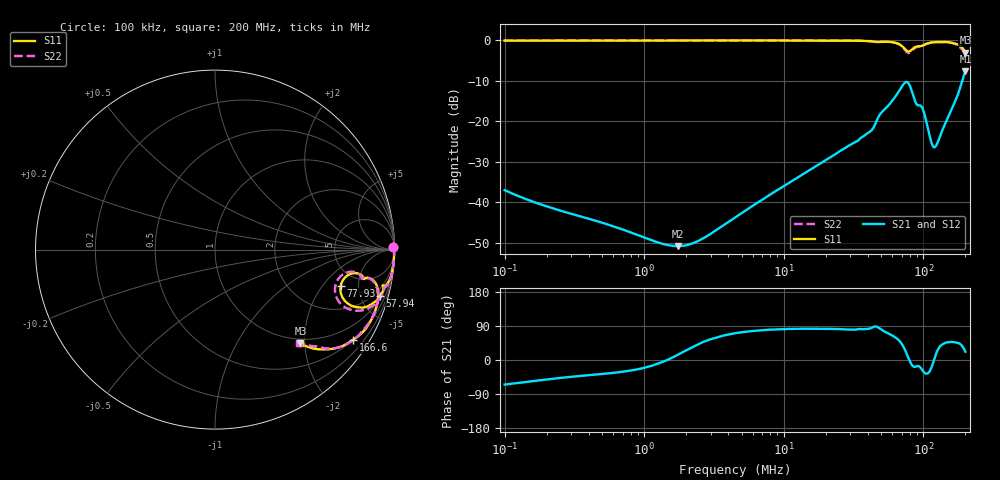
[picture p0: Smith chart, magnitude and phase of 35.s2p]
#  HZ  S  RI  R  50.00
! Rohde & Schwarz Vector Network Analyzer
! Rohde-Schwarz,ZNLE6-2Port,1323001256200024,1.71.1.10-23.02.1.238
! Created: UTC 4/7/2025, 4:41:07 AM
! freq[Hz]  re:S11  im:S11  re:S21  im:S21  re:S12  im:S12  re:S22  im:S22
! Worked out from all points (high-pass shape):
!   1001 points, 100 kHz to 200 MHz, reference 50 ohm
!   highest |S21| = -7.60 dB at 200 MHz (marker M1); lowest = -50.8 dB at 1.756 MHz (marker M2)
!   |S21| within 3 dB of the highest: 72.98 MHz to 78.24 MHz (5.256 MHz wide, 6.95 % of centre); 187.5 MHz to end of sweep
!   lowest |S11| = -3.0 dB at 200 MHz (marker M3), VSWR 5.80, Z = 45.9 - j95.4 ohm
!   |S11| at or under -10 dB: nowhere
!   |S22| runs from -3.1 to 0.0 dB; largest |S21 - S12| = 0.011
!   S11 on the Smith chart (normalised r, x): 100 kHz: open; 57.94 MHz: 1.15, -7.03; 77.93 MHz: 3.57, -3.09; 166.6 MHz: 0.51, -3.28; 200 MHz: 0.92, -1.91
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100000  0.9942 0.0126  0.00602 -0.0128  0.00604 -0.0129  0.9941 0.0125
355854.1  0.9951 0.00351  0.00497 -0.00444  0.00498 -0.00444  0.9951 0.00349
1266322  0.9969 -0.00265  0.00314 -0.000516  0.00316 -0.000519  0.9969 -0.0028
1755854  0.9972 -0.00511  0.00279 0.000719  0.0028 0.000717  0.9972 -0.00531
2416193  0.9975 -0.00819  0.00252 0.00215  0.00252 0.00216  0.9974 -0.00842
4472136  0.9976 -0.0177  0.00217 0.00612  0.00224 0.00609  0.9981 -0.0177
1.591428e7  0.9953 -0.0663  0.00348 0.0259  0.00372 0.0259  0.9956 -0.0683
4.146835e7  0.9586 -0.1919  0.00888 0.0743  0.0105 0.0737  0.9632 -0.1944
4.901618e7  0.9362 -0.2026  0.0165 0.1217  0.0192 0.1205  0.9412 -0.2183
5.663162e7  0.9263 -0.2508  0.0565 0.1498  0.06 0.1475  0.9219 -0.2681
5.793781e7  0.9205 -0.2601  0.0639 0.1547  0.0676 0.1523  0.915 -0.2776
7.006286e7  0.7926 -0.3215  0.1983 0.1808  0.2029 0.1748  0.7722 -0.3395
7.792957e7  0.7 -0.2029  0.296 0.0329  0.2971 0.0248  0.67 -0.2039
8.344716e7  0.7722 -0.1314  0.2171 -0.0571  0.2161 -0.0633  0.7511 -0.1237
8.86788e7  0.8238 -0.1498  0.1591 -0.0493  0.1584 -0.0539  0.8101 -0.1438
9.938829e7  0.8542 -0.1573  0.1218 -0.0684  0.1207 -0.0717  0.8457 -0.1552
1.130974e8  0.9095 -0.2318  0.0533 -0.0234  0.0529 -0.0245  0.907 -0.2374
1.192779e8  0.9092 -0.2701  0.0478 0.000638  0.0478 -0.000231  0.9076 -0.2784
1.267559e8  0.9017 -0.3115  0.0496 0.0247  0.0498 0.0237  0.8992 -0.3226
1.6665e8  0.7686 -0.5028  0.1145 0.1233  0.1174 0.1181  0.749 -0.518
1.82565e8  0.6564 -0.5524  0.1862 0.1732  0.1913 0.1662  0.6118 -0.5497
2e8  0.4758 -0.5214  0.3872 0.1549  0.3927 0.1453  0.4657 -0.5211
